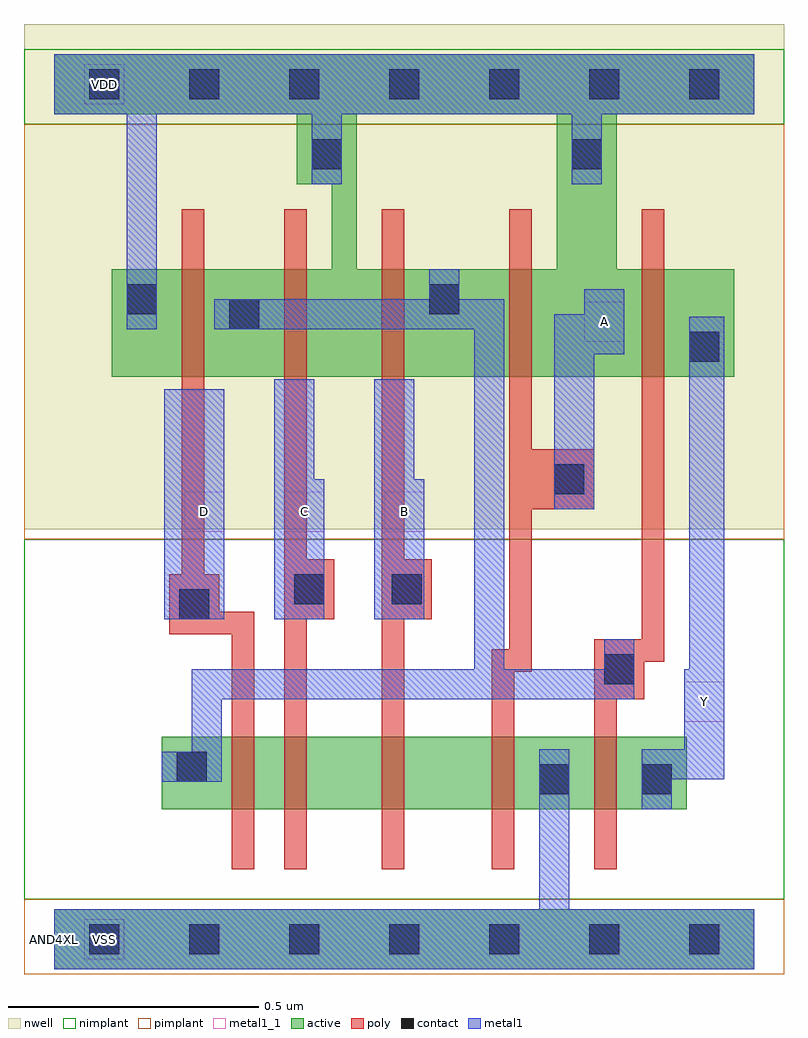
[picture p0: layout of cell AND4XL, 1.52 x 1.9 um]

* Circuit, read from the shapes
.subckt AND4XL A B C D VDD VSS Y
M1 n1 D n2 VSS nfet w=0.145u l=0.045u
M2 n3 C n1 VSS nfet w=0.145u l=0.045u
M3 n4 B n3 VSS nfet w=0.145u l=0.045u
M4 VSS A n4 VSS nfet w=0.145u l=0.045u
M5 Y n2 VSS VSS nfet w=0.145u l=0.045u
M6 n2 D VDD VDD pfet w=0.215u l=0.045u
M7 VDD C n2 VDD pfet w=0.215u l=0.045u
M8 n2 B VDD VDD pfet w=0.215u l=0.045u
M9 VDD A n2 VDD pfet w=0.215u l=0.045u
M10 Y n2 VDD VDD pfet w=0.215u l=0.045u
.ends

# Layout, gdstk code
import gdstk
lib = gdstk.Library(unit=1e-6, precision=5e-10)
def R(c, l, rs):  # rectangles x0, y0, x1, y1
    for r in rs: c.add(gdstk.rectangle(r[:2], r[2:], *l))
def A(c, l, x, y, w, h, nx, ny, dx, dy):  # array of equal rectangles
    R(c, l, [(x+i*dx, y+j*dy, x+i*dx+w, y+j*dy+h) for i in range(nx) for j in range(ny)])
def P(c, l, *ps):  # polygons
    for p in ps: c.add(gdstk.Polygon(p, *l))
active = (1, 0)
nwell = (2, 0)
poly = (3, 0)
nimplant = (4, 0)
pimplant = (5, 0)
contact = (6, 0)
metal1 = (7, 0)
metal1_1 = (7, 1)

and4xl = lib.new_cell('AND4XL')
R(and4xl, active, [(0,-0.06,1.4,0.06), (0.215,0.26,1.265,0.405)])
P(and4xl, active, [(0,1.77),(1.4,1.77),(1.4,1.65),(1.125,1.65),(1.125,1.34),(1.36,1.34),(1.36,1.125),(0.115,1.125),(0.115,1.34),(0.555,1.34),(0.555,1.51),(0.485,1.51),(0.485,1.65),(0.605,1.65),(0.605,1.34),(1.005,1.34),(1.005,1.65),(0,1.65)])
R(and4xl, nwell, [(-0.06,0.82,1.46,1.83)])
P(and4xl, poly, [(0.255,1.46),(0.3,1.46),(0.3,0.73),(0.33,0.73),(0.33,0.655),(0.4,0.655),(0.4,0.14),(0.355,0.14),(0.355,0.61),(0.23,0.61),(0.23,0.73),(0.255,0.73)],
  [(0.46,1.46),(0.505,1.46),(0.505,0.76),(0.56,0.76),(0.56,0.64),(0.505,0.64),(0.505,0.14),(0.46,0.14)],
  [(0.655,1.46),(0.7,1.46),(0.7,0.76),(0.755,0.76),(0.755,0.64),(0.7,0.64),(0.7,0.14),(0.655,0.14)],
  [(0.91,1.46),(0.955,1.46),(0.955,0.98),(1.08,0.98),(1.08,0.86),(0.955,0.86),(0.955,0.535),(0.92,0.535),(0.92,0.14),(0.875,0.14),(0.875,0.58),(0.91,0.58)],
  [(1.175,1.46),(1.22,1.46),(1.22,0.555),(1.18,0.555),(1.18,0.48),(1.125,0.48),(1.125,0.14),(1.08,0.14),(1.08,0.6),(1.175,0.6)])
R(and4xl, nimplant, [(-0.06,0.08,1.46,0.8), (-0.06,1.63,1.46,1.78)])
R(and4xl, pimplant, [(-0.06,-0.07,1.46,0.08), (-0.06,0.8,1.46,1.63)])
A(and4xl, contact, 0.07, -0.03, 0.06, 0.06, 7, 2, 0.2, 1.71)
R(and4xl, contact, [(0.97,0.29,1.03,0.35), (1.175,0.29,1.235,0.35), (0.245,0.315,0.305,0.375), (1.1,0.51,1.16,0.57), (0.25,0.64,0.31,0.7), (0.48,0.67,0.54,0.73), (0.675,0.67,0.735,0.73), (1,0.89,1.06,0.95), (1.27,1.155,1.33,1.215), (0.35,1.22,0.41,1.28), (0.145,1.25,0.205,1.31), (0.75,1.25,0.81,1.31), (0.515,1.54,0.575,1.6), (1.035,1.54,1.095,1.6)])
R(and4xl, metal1, [(0.22,0.64,0.34,1.1)])
P(and4xl, metal1, [(0.97,0.38),(1.03,0.38),(1.03,0.06),(1.4,0.06),(1.4,-0.06),(0,-0.06),(0,0.06),(0.97,0.06)],
  [(0,1.77),(1.4,1.77),(1.4,1.65),(1.095,1.65),(1.095,1.51),(1.035,1.51),(1.035,1.65),(0.575,1.65),(0.575,1.51),(0.515,1.51),(0.515,1.65),(0.205,1.65),(0.205,1.22),(0.145,1.22),(0.145,1.65),(0,1.65)],
  [(0.75,1.34),(0.81,1.34),(0.81,1.28),(0.9,1.28),(0.9,0.54),(1.1,0.54),(1.1,0.6),(1.16,0.6),(1.16,0.48),(0.335,0.48),(0.335,0.315),(0.215,0.315),(0.215,0.375),(0.275,0.375),(0.275,0.54),(0.84,0.54),(0.84,1.22),(0.32,1.22),(0.32,1.28),(0.75,1.28)],
  [(1.27,1.245),(1.34,1.245),(1.34,0.32),(1.235,0.32),(1.235,0.26),(1.175,0.26),(1.175,0.38),(1.26,0.38),(1.26,0.54),(1.27,0.54)],
  [(0.64,1.12),(0.72,1.12),(0.72,0.92),(0.74,0.92),(0.74,0.64),(0.64,0.64)],
  [(0.44,1.12),(0.52,1.12),(0.52,0.92),(0.54,0.92),(0.54,0.64),(0.44,0.64)],
  [(1.06,1.3),(1.14,1.3),(1.14,1.17),(1.08,1.17),(1.08,0.86),(1,0.86),(1,1.25),(1.06,1.25)])
A(and4xl, metal1_1, 0.26, 0.815, 0.08, 0.08, 3, 1, 0.2, 0)
R(and4xl, metal1_1, [(0.06,-0.04,0.14,0.04), (1.26,0.435,1.34,0.515), (1.06,1.195,1.14,1.275), (0.06,1.67,0.14,1.75)])
and4xl.add(gdstk.Label('Y', (1.3,0.475), layer=7, texttype=1))
and4xl.add(gdstk.Label('A', (1.1,1.235), layer=7, texttype=1))
and4xl.add(gdstk.Label('B', (0.7,0.855), layer=7, texttype=1))
and4xl.add(gdstk.Label('C', (0.5,0.855), layer=7, texttype=1))
and4xl.add(gdstk.Label('D', (0.3,0.855), layer=7, texttype=1))
and4xl.add(gdstk.Label('VDD', (0.1,1.71), layer=7, texttype=1))
and4xl.add(gdstk.Label('VSS', (0.1,0), layer=7, texttype=1))
and4xl.add(gdstk.Label('AND4XL', (0,0), layer=63, texttype=0))

lib.write_gds('AND4XL.gds')
